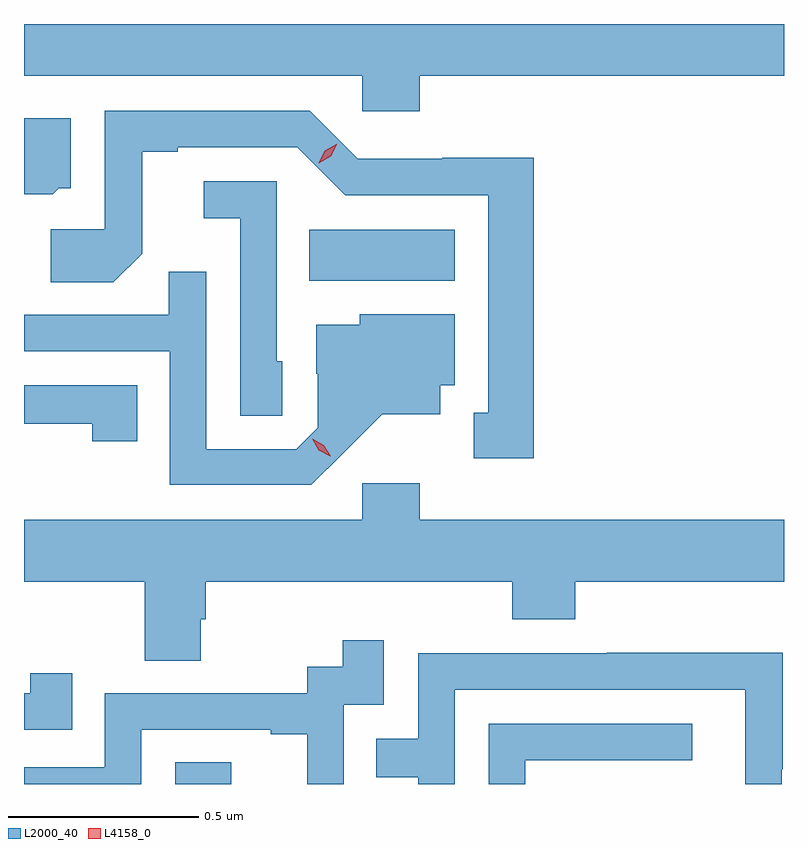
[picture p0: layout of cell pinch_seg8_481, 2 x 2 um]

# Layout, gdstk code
import gdstk
lib = gdstk.Library(unit=1e-6, precision=1e-09)
def R(c, l, rs):  # rectangles x0, y0, x1, y1
    for r in rs: c.add(gdstk.rectangle(r[:2], r[2:], *l))
def P(c, l, *ps):  # polygons
    for p in ps: c.add(gdstk.Polygon(p, *l))
L2000_40 = (2000, 40)
L4158_0 = (4158, 0)

pinch_seg8_481 = lib.new_cell('pinch_seg8_481')
R(pinch_seg8_481, L2000_40, [(115.26,1126.624,115.408,1126.681), (115.612,1127.948,115.996,1128.082)])
P(pinch_seg8_481, L2000_40, [(115.904,1128.488),(116.862,1128.488),(116.862,1128.624),(114.862,1128.624),(114.862,1128.488),(115.752,1128.488),(115.752,1128.395),(115.904,1128.395)],
  [(116.203,1128.272),(115.962,1128.272),(115.962,1128.27),(115.74,1128.27),(115.614,1128.396),(115.074,1128.396),(115.074,1128.084),(114.933,1128.084),(114.933,1127.944),(115.097,1127.944),(115.173,1128.02),(115.173,1128.288),(115.267,1128.288),(115.267,1128.3),(115.581,1128.3),(115.707,1128.174),(116.084,1128.174),(116.084,1127.601),(116.045,1127.601),(116.045,1127.481),(116.203,1127.481)],
  [(114.954,1128.192),(114.985,1128.192),(114.985,1128.376),(114.862,1128.376),(114.862,1128.176),(114.938,1128.176)],
  [(115.542,1127.736),(115.527,1127.736),(115.527,1128.21),(115.335,1128.21),(115.335,1128.113),(115.431,1128.113),(115.431,1127.593),(115.542,1127.593)],
  [(115.702,1127.495),(115.805,1127.597),(115.957,1127.597),(115.957,1127.673),(115.996,1127.673),(115.996,1127.86),(115.746,1127.86),(115.746,1127.833),(115.631,1127.833),(115.631,1127.704),(115.635,1127.704),(115.635,1127.562),(115.578,1127.505),(115.341,1127.505),(115.341,1127.972),(115.243,1127.972),(115.243,1127.859),(114.862,1127.859),(114.862,1127.763),(115.245,1127.763),(115.245,1127.412),(115.618,1127.412)],
  [(115.16,1127.673),(114.862,1127.673),(114.862,1127.572),(115.042,1127.572),(115.042,1127.526),(115.16,1127.526)],
  [(115.327,1127.058),(115.34,1127.058),(115.34,1127.156),(116.147,1127.156),(116.147,1127.057),(116.312,1127.057),(116.312,1127.156),(116.862,1127.156),(116.862,1127.32),(115.904,1127.32),(115.904,1127.416),(115.752,1127.416),(115.752,1127.32),(114.862,1127.32),(114.862,1127.156),(115.18,1127.156),(115.18,1126.948),(115.327,1126.948)],
  [(115.17,1126.767),(115.511,1126.767),(115.511,1126.755),(115.607,1126.755),(115.607,1126.624),(115.704,1126.624),(115.704,1126.833),(115.809,1126.833),(115.809,1127.002),(115.701,1127.002),(115.701,1126.932),(115.608,1126.932),(115.608,1126.863),(115.074,1126.863),(115.074,1126.668),(114.862,1126.668),(114.862,1126.624),(115.17,1126.624)],
  [(115.995,1126.872),(116.76,1126.872),(116.76,1126.624),(116.856,1126.624),(116.856,1126.663),(116.859,1126.663),(116.859,1126.97),(116.395,1126.97),(116.395,1126.968),(115.899,1126.968),(115.899,1126.743),(115.789,1126.743),(115.789,1126.642),(115.899,1126.642),(115.899,1126.624),(115.995,1126.624)],
  [(114.989,1126.915),(114.878,1126.915),(114.878,1126.863),(114.862,1126.863),(114.862,1126.767),(114.989,1126.767)],
  [(116.181,1126.686),(116.62,1126.686),(116.62,1126.782),(116.085,1126.782),(116.085,1126.624),(116.181,1126.624)])
P(pinch_seg8_481, L4158_0, [(115.637,1128.257),(115.637,1128.258),(115.654,1128.29),(115.686,1128.309),(115.686,1128.309),(115.686,1128.309),(115.669,1128.276),(115.637,1128.257)],
  [(115.668,1127.486),(115.638,1127.502),(115.62,1127.532),(115.62,1127.532),(115.621,1127.532),(115.651,1127.516),(115.669,1127.486),(115.669,1127.486)])

lib.write_gds('pinch_seg8_481.gds')
